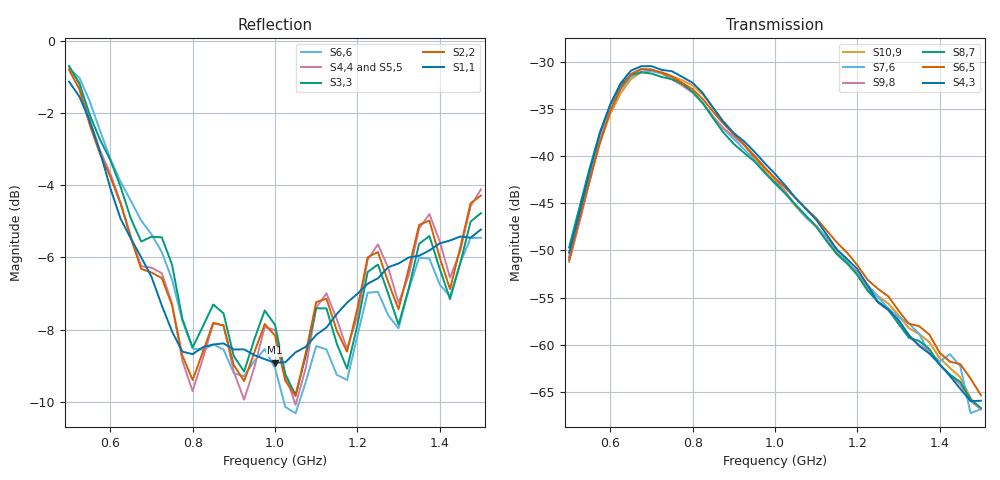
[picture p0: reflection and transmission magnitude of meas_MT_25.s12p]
! 12-antenna multistatic S-parameters, converted from meas_MT_25.mat
! VNA: 0 dBm, IF bandwidth 100 Hz, averages 1
! Row = receiving antenna m, column = transmitting antenna n (S_mn)
# Hz S RI R 50
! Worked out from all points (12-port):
!   41 points, 500 MHz to 1.5 GHz, reference 50 ohm
!   strongest paths, dB at 500 MHz, 750 MHz, 1 GHz, 1.25 GHz, 1.5 GHz:
!     S4,3: -50.2, -31.0, -41.9, -55.5, -65.9
!     S6,5: -51.0, -31.6, -42.3, -54.1, -65.3
!     S8,7: -49.7, -31.9, -42.8, -55.4, -66.7
!     S9,8: -51.2, -31.9, -42.4, -55.5, -66.8
!     S7,6: -50.7, -31.9, -42.9, -55.0, -66.8
!     S10,9: -50.8, -31.6, -42.7, -54.8, -66.8
!   lowest |S11| = -8.9 dB at 1 GHz (marker M1), VSWR 2.12, Z = 28.6 + j19.6 ohm
!   |S11| at or under -10 dB: nowhere
